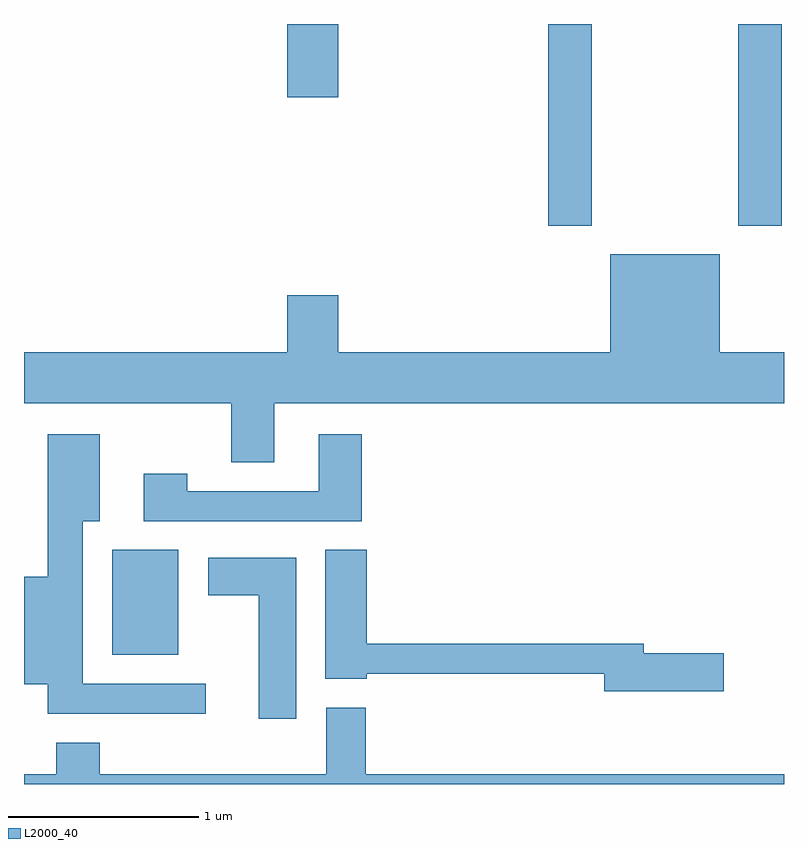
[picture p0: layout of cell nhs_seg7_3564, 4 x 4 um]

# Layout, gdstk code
import gdstk
lib = gdstk.Library(unit=1e-6, precision=1e-09)
def R(c, l, rs):  # rectangles x0, y0, x1, y1
    for r in rs: c.add(gdstk.rectangle(r[:2], r[2:], *l))
def P(c, l, *ps):  # polygons
    for p in ps: c.add(gdstk.Polygon(p, *l))
L2000_40 = (2000, 40)

nhs_seg7_3564 = lib.new_cell('nhs_seg7_3564')
R(nhs_seg7_3564, L2000_40, [(294.076,1772.931,294.424,1773.484), (296.371,1775.191,296.599,1776.252), (297.371,1775.191,297.599,1776.252), (294.996,1775.866,295.264,1776.252)])
P(nhs_seg7_3564, L2000_40, [(294.929,1774.256),(297.611,1774.256),(297.611,1774.524),(297.274,1774.524),(297.274,1775.039),(296.696,1775.039),(296.696,1774.524),(295.264,1774.524),(295.264,1774.824),(294.996,1774.824),(294.996,1774.524),(293.611,1774.524),(293.611,1774.256),(294.701,1774.256),(294.701,1773.946),(294.929,1773.946)],
  [(294.568,1772.779),(293.919,1772.779),(293.919,1773.636),(294.009,1773.636),(294.009,1774.094),(293.736,1774.094),(293.736,1773.344),(293.611,1773.344),(293.611,1772.776),(293.736,1772.776),(293.736,1772.621),(294.568,1772.621)],
  [(295.389,1774.094),(295.161,1774.094),(295.161,1773.794),(294.469,1773.794),(294.469,1773.884),(294.241,1773.884),(294.241,1773.636),(295.389,1773.636)],
  [(297.294,1772.939),(296.874,1772.939),(296.874,1772.989),(295.414,1772.989),(295.414,1773.484),(295.196,1773.484),(295.196,1772.806),(295.414,1772.806),(295.414,1772.831),(296.666,1772.831),(296.666,1772.741),(297.294,1772.741)],
  [(295.044,1773.444),(294.581,1773.444),(294.581,1773.246),(294.846,1773.246),(294.846,1772.596),(295.044,1772.596)],
  [(297.611,1772.304),(295.409,1772.304),(295.409,1772.654),(295.201,1772.654),(295.201,1772.304),(294.009,1772.304),(294.009,1772.469),(293.781,1772.469),(293.781,1772.304),(293.611,1772.304),(293.611,1772.252),(297.611,1772.252)])

lib.write_gds('nhs_seg7_3564.gds')
